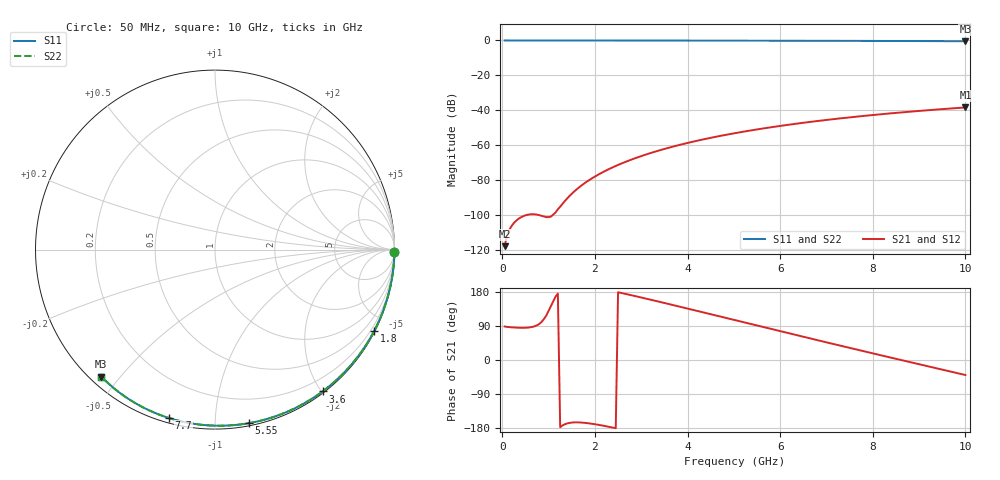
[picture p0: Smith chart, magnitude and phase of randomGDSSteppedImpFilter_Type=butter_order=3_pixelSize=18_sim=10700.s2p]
! freq	dB(S11)	phase(S11)	dB(S12)	phase(S12)
!  dB(S21)	phase(S21)	dB(S22)	phase(S22)
!S-par simulation data
#  GHz  S  DB  R 50
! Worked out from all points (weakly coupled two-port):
!   200 points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, 50 MHz to 10 GHz, reference 50 ohm
!   highest |S21| = -38.39 dB at 10 GHz (marker M1); lowest = -117.9 dB at 50 MHz (marker M2)
!   lowest |S11| = -0.4 dB at 10 GHz (marker M3), VSWR 38.93, Z = 1.54 - j22.3 ohm
!   |S11| at or under -10 dB: nowhere
!   |S22| runs from -0.4 to 0.0 dB; largest |S21 - S12| = 0
!   S11 on the Smith chart (normalised r, x): 50 MHz: open; 1.8 GHz: 0.04, -4.16; 3.6 GHz: 0.02, -2.01; 5.55 GHz: 0.02, -1.21; 7.7 GHz: 0.02, -0.76; 10 GHz: 0.03, -0.45
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0.05  -0.00 -0.8  -117.92 88.5  -117.92 88.5  -0.00 -0.8
0.9  -0.02 -13.6  -100.98 108.3  -100.98 108.3  -0.02 -13.6
1.75  -0.03 -26.3  -82.34 -165.5  -82.34 -165.5  -0.03 -26.3
1.8  -0.03 -27.0  -81.39 -166.1  -81.39 -166.1  -0.03 -27.0
1.85  -0.04 -27.8  -80.50 -166.8  -80.50 -166.8  -0.04 -27.8
1.9  -0.04 -28.5  -79.63 -167.6  -79.63 -167.6  -0.04 -28.5
2.05  -0.04 -30.7  -77.24 -170.5  -77.24 -170.5  -0.04 -30.7
2.25  -0.04 -33.6  -74.42 -175.0  -74.42 -175.0  -0.04 -33.6
2.45  -0.05 -36.5  -71.93 -180.0  -71.93 -180.0  -0.05 -36.5
2.65  -0.05 -39.4  -69.70 174.7  -69.70 174.7  -0.05 -39.4
3  -0.06 -44.4  -66.28 165.0  -66.28 165.0  -0.06 -44.4
3.4  -0.07 -50.0  -62.94 153.4  -62.94 153.4  -0.07 -50.1
3.6  -0.07 -52.8  -61.45 147.6  -61.45 147.6  -0.07 -52.8
4.3  -0.09 -62.4  -56.94 126.8  -56.94 126.8  -0.09 -62.4
5.05  -0.11 -72.4  -53.01 104.4  -53.01 104.4  -0.11 -72.4
5.55  -0.13 -78.9  -50.78 89.5  -50.78 89.5  -0.13 -78.9
6.1  -0.15 -85.9  -48.61 73.1  -48.61 73.1  -0.15 -85.9
6.7  -0.18 -93.4  -46.52 55.4  -46.52 55.4  -0.18 -93.4
7.7  -0.24 -105.4  -43.54 26.2  -43.54 26.2  -0.24 -105.4
8.35  -0.29 -113.0  -41.87 7.4  -41.87 7.4  -0.29 -113.0
9.15  -0.36 -122.2  -40.07 -15.5  -40.07 -15.5  -0.36 -122.2
10  -0.45 -131.9  -38.39 -39.6  -38.39 -39.6  -0.45 -131.9
